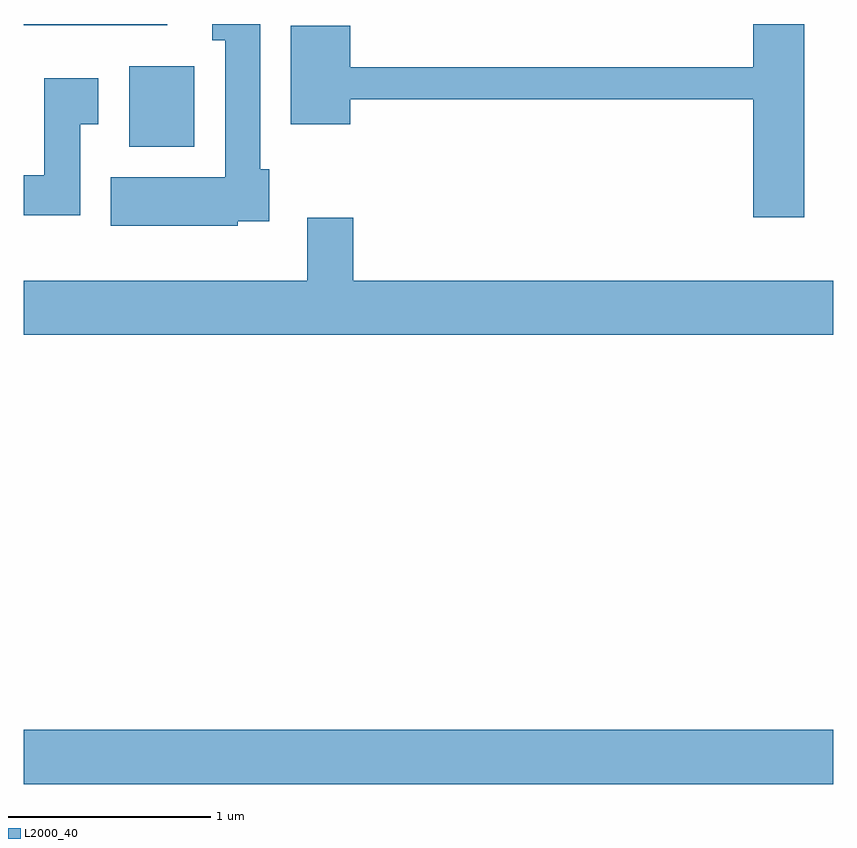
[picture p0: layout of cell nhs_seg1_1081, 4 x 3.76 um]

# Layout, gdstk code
import gdstk
lib = gdstk.Library(unit=1e-6, precision=1e-09)
def R(c, l, rs):  # rectangles x0, y0, x1, y1
    for r in rs: c.add(gdstk.rectangle(r[:2], r[2:], *l))
def P(c, l, *ps):  # polygons
    for p in ps: c.add(gdstk.Polygon(p, *l))
L2000_40 = (2000, 40)

nhs_seg1_1081 = lib.new_cell('nhs_seg1_1081')
R(nhs_seg1_1081, L2000_40, [(217.611,963.956,221.611,964.224), (218.131,967.106,218.454,967.504), (217.611,967.706,218.319,967.712)])
P(nhs_seg1_1081, L2000_40, [(218.669,966.736),(218.824,966.736),(218.824,966.994),(218.779,966.994),(218.779,967.712),(218.543,967.712),(218.543,967.631),(218.606,967.631),(218.606,966.954),(218.041,966.954),(218.041,966.716),(218.669,966.716)],
  [(221.469,967.712),(221.216,967.712),(221.216,967.499),(219.224,967.499),(219.224,967.704),(218.931,967.704),(218.931,967.216),(219.224,967.216),(219.224,967.341),(221.216,967.341),(221.216,966.756),(221.469,966.756)],
  [(217.889,967.216),(217.979,967.216),(217.979,967.444),(217.711,967.444),(217.711,966.964),(217.611,966.964),(217.611,966.766),(217.889,966.766)],
  [(221.611,966.444),(219.239,966.444),(219.239,966.754),(219.011,966.754),(219.011,966.444),(217.611,966.444),(217.611,966.176),(221.611,966.176)])

lib.write_gds('nhs_seg1_1081.gds')
